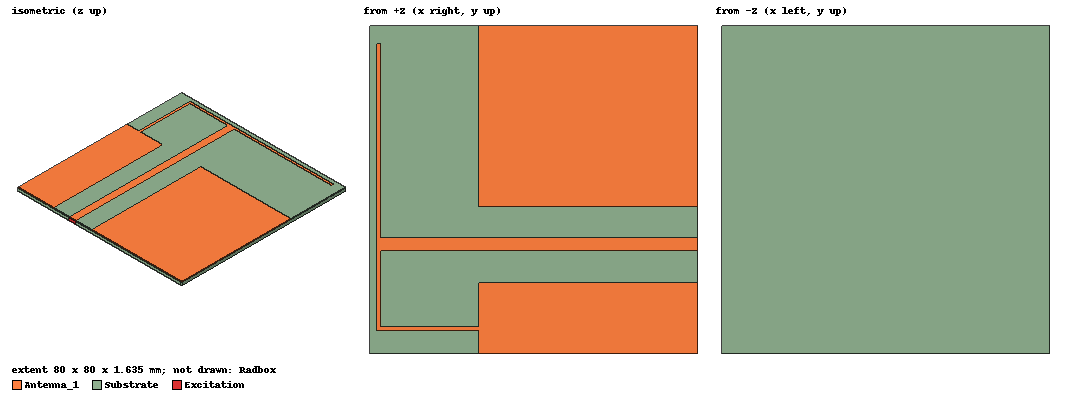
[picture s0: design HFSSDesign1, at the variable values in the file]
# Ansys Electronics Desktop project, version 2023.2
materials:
  vacuum: permittivity=1
  FR4_epoxy: permittivity=4.4 dielectric_loss_tangent=0.02
  pec: conductivity=1e+30
  copper: permeability=0.999991 conductivity=58000000

design HFSSDesign1 (HFSS, HFSS Terminal Network, model units mm)
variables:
  xg = 80mm
  yg = 80mm
  h = 1.6mm
  totalA = 46mm
  heightA = 24mm
  lengthA = totalA-(heightA+widthA)
  lengthB = 49mm
  widthA = 1mm
  width_trline = 3.1mm
  height_trline = (2*xg)/3+heightA
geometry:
  Substrate [FR4_epoxy] = box(corner=(-xg/3, -yg/3, 0mm), size=(xg, yg, h))
  Antenna = rectangle(corner=(-heightA, -lengthA, h), x_size=heightA, y_size=widthA)
  Rectangle2 = rectangle(corner=(-(heightA+widthA), -lengthA, h), x_size=widthA, y_size=lengthA)
  Rectangle3 = rectangle(corner=(-(widthA+heightA), 0mm, h), x_size=widthA, y_size=lengthB)
  Feedline = rectangle(corner=(-heightA, -width_trline/2, h), x_size=height_trline, y_size=width_trline)
  Antenna.unite(Rectangle3, Rectangle2)
  BTM_Ground = rectangle(corner=(0mm, -yg/3, 0mm), x_size=(2*xg)/3, y_size=yg)
  Top_G1 = rectangle(corner=(0mm, -yg/3, h), x_size=(2*xg)/3, y_size=yg/3-width_trline*3)
  Top_G2 = rectangle(corner=(0mm, 3*width_trline, h), x_size=(2*xg)/3, y_size=(2*yg)/3-3*width_trline)
  g_via1 = cylinder(axis=Z, base_centre=(xg/6, -yg/6, 0), radius=0.3mm, height=h)
  g_via2 = cylinder(axis=Z, base_centre=(2*xg/6, -yg/6, 0), radius=0.3mm, height=h)
  g_via3 = cylinder(axis=Z, base_centre=(3*xg/6, -yg/6, 0), radius=0.3mm, height=h)
  Antenna_1 [copper] = cylinder(axis=Z, base_centre=(xg/6, -1.5*yg/6, 0), radius=0.3mm, height=h)
  g_via5 = cylinder(axis=Z, base_centre=(2*xg/6, -1.5*yg/6, 0), radius=0.3mm, height=h)
  g_via6 = cylinder(axis=Z, base_centre=(3*xg/6, -1.5*yg/6, 0), radius=0.3mm, height=h)
  Antenna.unite(Top_G1, Feedline)
  g_via7 = cylinder(axis=Z, base_centre=(xg/6, yg/6, 0), radius=0.3mm, height=h)
  g_via8 = cylinder(axis=Z, base_centre=(2*xg/6, yg/6, 0), radius=0.3mm, height=h)
  g_via9 = cylinder(axis=Z, base_centre=(3*xg/6, yg/6, 0), radius=0.3mm, height=h)
  g_via10 = cylinder(axis=Z, base_centre=(3*xg/6, 2*yg/6, 0), radius=0.3mm, height=h)
  g_via11 = cylinder(axis=Z, base_centre=(2*xg/6, 2*yg/6, 0), radius=0.3mm, height=h)
  g_via12 = cylinder(axis=Z, base_centre=(xg/6, 2*yg/6, 0), radius=0.3mm, height=h)
  g_via13 = cylinder(axis=Z, base_centre=(3*xg/6, 3*yg/6, 0), radius=0.3mm, height=h)
  g_via14 = cylinder(axis=Z, base_centre=(2*xg/6, 3*yg/6, 0), radius=0.3mm, height=h)
  g_via15 = cylinder(axis=Z, base_centre=(xg/6, 3*yg/6, 0), radius=0.3mm, height=h)
  Excitation = rectangle(corner=((2*xg)/3, -width_trline/2, 0mm), y_size=width_trline, z_size=h)
  Radbox [vacuum] = box(corner=(-2*xg, -2*yg, -2*xg), size=(1.2*4*xg, 1.2*4*yg, 1.2*4*xg))
  [Antenna, Top_G2].thicken(35um)
  Antenna_1.unite(Antenna, g_via1, g_via5, g_via2, g_via6, g_via3)
  Top_G2.unite(g_via7, g_via12, g_via15, g_via14, g_via11, g_via8, g_via9, g_via10, g_via13)
  BTM_Ground.thicken(35um)
  Antenna_1.unite(BTM_Ground, Top_G2)
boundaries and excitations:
  Rad1: Radiation Objects=Radbox
  1: Lumped Port Objects=Excitation LumpedPortType=Modal Modes{Mode1{IntLine{(53.333333, 0, 0) -> (53.333333, 0, 1.6)} CharImp=Zpi}} Impedance=50ohm
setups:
  Setup1: HfssDriven Frequency=0.915GHz MaxDeltaS=0.02 MaximumPasses=25 MinimumPasses=1 MinimumConvergedPasses=1 PercentRefinement=30 BasisOrder=1 PortAccuracy=2 DrivenSolverType="Direct Solver"
    sweep Sweep: 0.4575GHz to 1.3725GHz, 401 points; Type=Interpolating InterpTolerance=0.5 InterpMaxSolns=250 PassivityErrorTolerance=0.0001
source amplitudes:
  1:1: 1V 0deg
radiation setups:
  Infinite Sphere1: Infinite Sphere Theta=0deg..360deg step 1deg Phi=-180deg..180deg step 1deg
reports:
  S Parameter Plot 1: dB(S(1,1)) vs Freq on Setup1 : Sweep [totalA=all lengthB=all widthA=all]; markers MX1 at x=9.15e+08
  Gain Plot 1: dB(GainTotal) vs Phi, Theta on Setup1 : LastAdaptive, Infinite Sphere1 [Freq=0.915GHz]
  Z Parameter Plot 1: im(Z(1,1)) vs Freq on Setup1 : Sweep; markers MY1 at y=0
  Z Parameter Plot 2: re(Z(1,1)) vs Freq on Setup1 : Sweep; markers MX1 at x=9.1636334e+08
